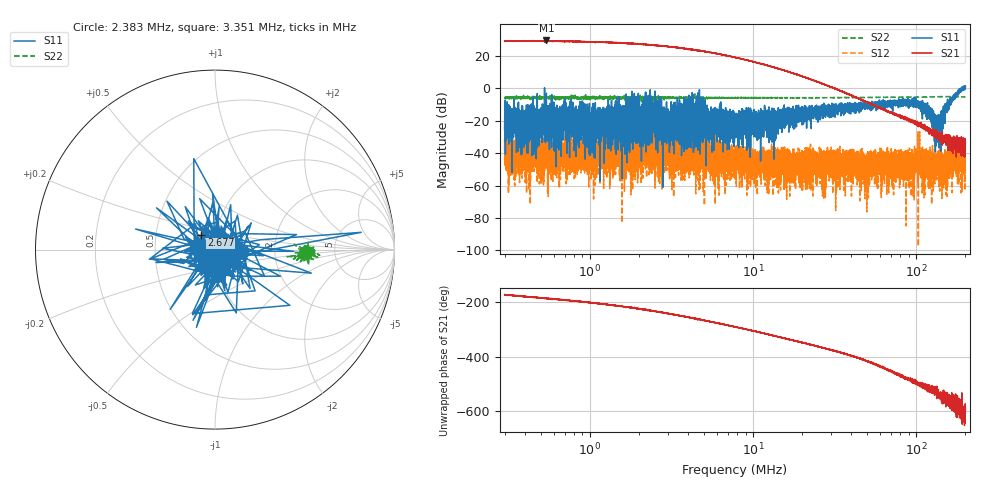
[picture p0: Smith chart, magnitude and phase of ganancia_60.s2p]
# Hz S DB R 50
! CMT, M5065, 19127446, 24.2.4/2
! Date: 11/1/2024 4:51:15 PM
! Data: Format (Calibration Info)
! Freq	S11:dB/Ang(F2)	S21:dB/Ang(F2)	S12:dB/Ang(F2)	S22:dB/Ang(F2)
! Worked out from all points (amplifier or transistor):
!   9000 points, 300 kHz to 200 MHz, reference 50 ohm
!   highest |S21| = 29.5 dB at 540.6 kHz (marker M1)
!   |S21| within 3 dB of that: start of sweep to 2.341 MHz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
!   unconditionally stable (mu >= 1): 5.253 MHz to 5.875 MHz; 5.876 MHz to 189.6 MHz; 189.8297 MHz to 190.5798 MHz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
!   at 886.8 kHz: K = 1.07, MAG = 30.5 dB, |S12| = -35.3 dB
!   at 7.749 MHz: K = 9.55, MAG = 20.4 dB, |S12| = -47.3 dB
!   at 200 MHz: K = -620.73, MSG = 4.9 dB, |S12| = -43.1 dB
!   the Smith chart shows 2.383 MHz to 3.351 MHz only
!   S11 on the Smith chart (normalised r, x): 2.383 MHz: 1.07, -0.12; 2.677 MHz: 0.85, +0.14; 3.351 MHz: 1.33, +0.00
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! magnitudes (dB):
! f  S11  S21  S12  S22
! 300 kHz  -25.4  29.1  -39.0  -5.9
! 321.5 kHz  -19.2  29.0  -37.9  -6.3
! 379.1 kHz  -17.7  29.1  -42.5  -5.7
! 540.6 kHz  -3.0  29.5  -33.5  -6.4
! 886.8 kHz  -27.4  28.8  -35.3  -6.4
! 1.003 MHz  -25.3  28.6  -42.8  -6.0
! 2.383 MHz  -23.7  26.7  -36.0  -6.2
! 2.621 MHz  -12.4  26.3  -38.4  -5.7
! 2.677 MHz  -19.1  26.3  -58.7  -5.9
! 3.016 MHz  -26.5  25.8  -38.6  -5.7
! 3.179 MHz  -21.8  25.5  -62.6  -5.9
! 3.351 MHz  -16.9  25.1  -38.7  -6.1
! 4.772 MHz  -19.1  23.0  -37.9  -5.8
! 7.749 MHz  -21.0  19.1  -47.3  -5.9
! 19.47 MHz  -12.1  7.8  -60.5  -5.9
! 22.91 MHz  -13.4  5.3  -43.0  -5.8
! 67.71 MHz  -9.9  -14.5  -39.0  -5.6
! 102.6 MHz  -10.0  -22.0  -46.7  -5.5
! 121 MHz  -14.8  -24.9  -47.7  -5.3
! 134.7 MHz  -26.8  -28.3  -40.1  -5.2
! 153.2 MHz  -13.3  -30.8  -40.8  -5.2
! 200 MHz  1.0  -33.2  -43.1  -5.3
